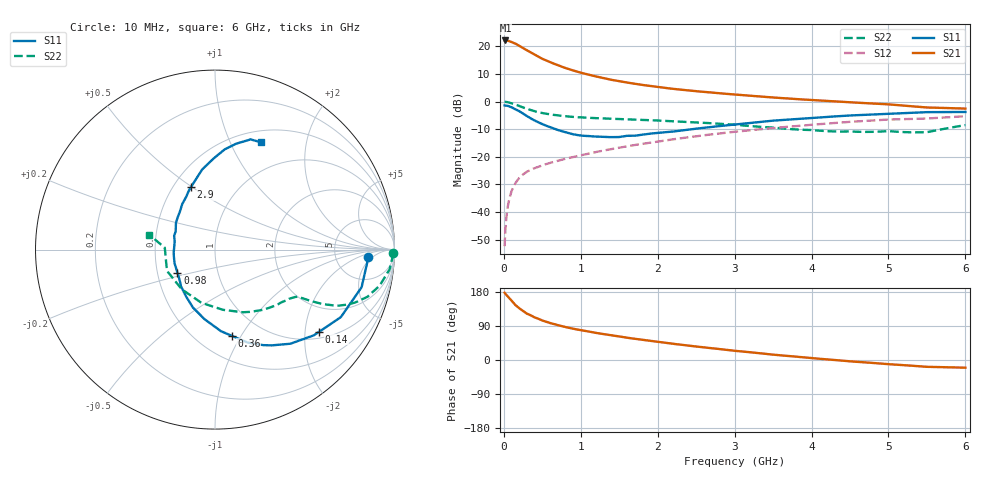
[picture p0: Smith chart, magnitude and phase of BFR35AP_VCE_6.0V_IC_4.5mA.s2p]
! Infineon Technologies  Discrete & RF Semiconductors
! BFR35AP
! VCE =  6.0 V,  IC =  4.5 mA
! Common Emitter S-Parameters:  Nov 2015
# GHz  S  MA  R  50
!  f  S11  S21  S12  S22
! GHz  MAG  ANG  MAG  ANG  MAG  ANG  MAG  ANG
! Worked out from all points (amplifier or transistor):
!   210 points, 10 MHz to 6 GHz, reference 50 ohm
!   highest |S21| = 22.2 dB at 20 MHz (marker M1)
!   |S21| within 3 dB of that: start of sweep to 264.5 MHz
!   unconditionally stable (mu >= 1): 866.4 MHz to 3.243 GHz
!   at 185 MHz: K = 0.35, MSG = 24.4 dB, |S12| = -28.2 dB
!   at 1.52 GHz: K = 1.11, MAG = 9.9 dB, |S12| = -16.6 dB
!   at 6 GHz: K = 0.92, MSG = 1.4 dB, |S12| = -5.3 dB
!   S11 on the Smith chart (normalised r, x): 10 MHz: 12, -4; 140 MHz: 1.18, -2.38; 360 MHz: 0.72, -0.91; 980 MHz: 0.64, -0.17; 2.9 GHz: 0.61, +0.49; 6 GHz: 0.63, +1.31
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0.01  0.8558 -2.9  12.8 177.5  0.0024 90.2  0.9945 -1.2
0.02  0.8497 -5.7  12.86 174.7  0.0047 82.5  0.9892 -2.6
0.05  0.8433 -14.4  12.8 167.7  0.0123 80.9  0.9789 -6.5
0.1  0.7957 -28.2  12.09 156.6  0.0238 75.0  0.9386 -12.4
0.14  0.7393 -38.2  11.43 147.5  0.0314 70.1  0.8986 -16.2
0.175  0.6976 -45.9  10.8 141.0  0.0373 67.1  0.8615 -18.9
0.22  0.6447 -55.1  9.935 133.7  0.044 63.7  0.8145 -21.7
0.3  0.5484 -70.7  8.541 122.3  0.0537 59.5  0.741 -25.0
0.36  0.4887 -79.1  7.672 116.8  0.0588 58.0  0.6975 -26.1
0.4  0.4559 -85.8  7.14 112.4  0.0623 57.2  0.6687 -26.9
0.5  0.3919 -98.6  5.981 104.2  0.0699 56.2  0.6196 -27.9
0.6  0.3457 -110.8  5.195 97.6  0.0776 56.0  0.5879 -28.5
0.8  0.2799 -132.2  4.073 86.9  0.0921 56.3  0.5436 -29.3
0.98  0.2453 -148.4  3.412 79.5  0.105 57.3  0.5205 -30.4
1.02  0.2415 -152.4  3.295 78.0  0.1081 57.4  0.5169 -30.8
1.4  0.2275 174.6  2.486 65.1  0.1382 57.8  0.4901 -34.9
2.02  0.2725 140.5  1.828 47.5  0.1915 56.0  0.4536 -44.1
2.9  0.3721 111.3  1.382 26.7  0.2746 49.5  0.3898 -63.2
3.1  0.3967 106.7  1.313 22.5  0.2938 47.4  0.3711 -69.0
4.1  0.5184 89.4  1.05 3.3  0.3908 36.1  0.2979 -109.1
5.1  0.6102 77.2  0.87 -12.3  0.4775 22.1  0.2855 -161.0
6  0.65 66.9  0.749 -20.3  0.5442 11.5  0.3759 167.2
